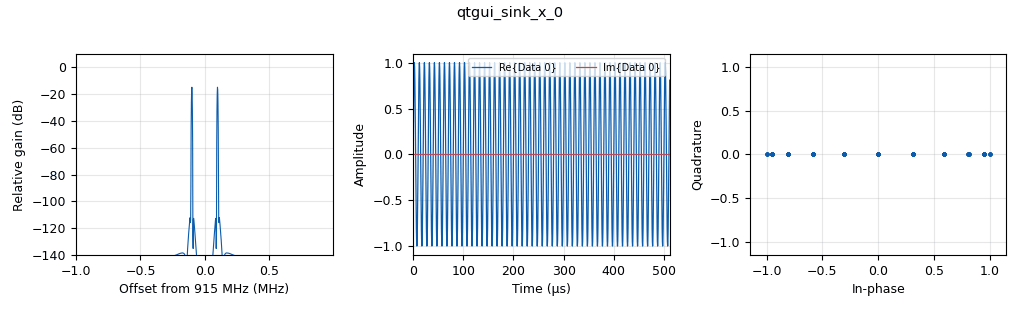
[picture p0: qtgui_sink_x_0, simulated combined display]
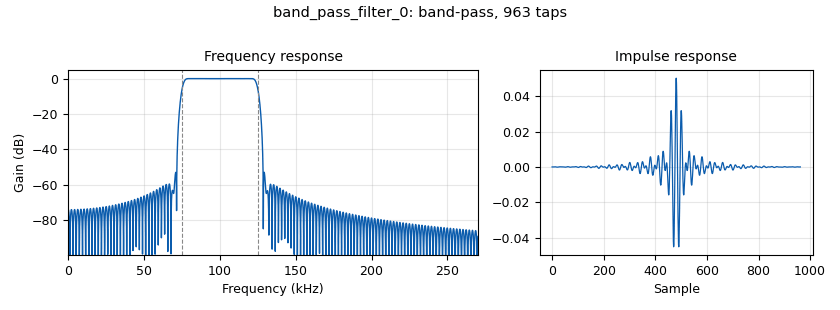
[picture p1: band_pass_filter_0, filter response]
options:
  parameters:
    author: donny
    generate_options: qt_gui
    id: Gain_Control_System
    output_language: python
    title: Gain Control System
  states: {}

blocks:
- name: AVG_LEN
  id: variable
  parameters:
    value: '2500'
  states: {}
- name: amp
  id: variable_qtgui_range
  parameters:
    label: Amplitude
    start: '0'
    step: '0.1'
    stop: '10'
    value: '1'
  states: {}
- name: channel_scale
  id: variable_qtgui_range
  parameters:
    label: Channel Scaling
    rangeType: int
    start: '1'
    step: '1'
    stop: '100'
    value: '1'
  states: {}
- name: fc_rx
  id: variable_qtgui_range
  parameters:
    label: Center Frequency - Rx
    start: '910000000'
    step: '500000'
    stop: '920000000'
    value: '915000000'
  states: {}
- name: fc_tx
  id: variable_qtgui_range
  parameters:
    label: Center Frequency - Tx
    start: '910000000'
    step: '500000'
    stop: '920000000'
    value: '915000000'
  states: {}
- name: filter_select
  id: variable_qtgui_chooser
  parameters:
    gui_hint: 0,3,1,1
    label: Filter Selection
    label0: Enable
    label1: Bypass
    num_opts: '2'
    option0: '0'
    option1: '1'
    type: int
    value: '0'
  states: {}
- name: gain_rx
  id: variable_qtgui_range
  parameters:
    gui_hint: 2,2,1,2
    label: Gain - Rx
    start: '0'
    step: '5'
    stop: '60'
    value: '30'
  states: {}
- name: gain_tx
  id: variable_qtgui_range
  parameters:
    gui_hint: 2,0,1,2
    label: Gain - Tx
    start: '0'
    step: '5'
    stop: '60'
    value: '40'
  states: {}
- name: path_select
  id: variable_qtgui_chooser
  parameters:
    gui_hint: 0,2,1,1
    label: Source Signal
    label0: Real Sine
    label1: Complex Sine
    num_opts: '2'
    option0: '0'
    option1: '1'
    type: int
    value: '0'
  states: {}
- name: samp_rate
  id: variable
  parameters:
    value: '2000000'
  states: {}
- name: sig_freq
  id: variable_qtgui_range
  parameters:
    gui_hint: 0,0,1,2
    label: Signal Frequency
    start: 5e4
    step: 5e4
    stop: 5e5
    value: 1e5
  states: {}
- name: analog_const_source_x_0
  id: analog_const_source_x
  parameters:
    const: '0'
    type: float
  states: {}
- name: analog_sig_source_x_0
  id: analog_sig_source_x
  parameters:
    amp: amp
    freq: sig_freq
    offset: '0'
    phase: '0'
    samp_rate: samp_rate
    type: complex
    waveform: analog.GR_COS_WAVE
  states: {}
- name: analog_sig_source_x_1_0
  id: analog_sig_source_x
  parameters:
    amp: amp
    freq: sig_freq
    offset: '0'
    phase: '0'
    samp_rate: samp_rate
    type: float
    waveform: analog.GR_COS_WAVE
  states: {}
- name: avg_power_1
  id: qtgui_number_sink
  parameters:
    autoscale: 'True'
    graph_type: qtgui.NUM_GRAPH_HORIZ
    label1: Average Power - Observed
    min: '0'
    name: '"Average Power 1"'
    type: float
  states: {}
- name: band_pass_filter_0
  id: band_pass_filter
  parameters:
    decim: '1'
    gain: '1'
    high_cutoff_freq: sig_freq + 25000
    low_cutoff_freq: sig_freq - 25000
    samp_rate: samp_rate
    type: fir_filter_ccf
    width: 5e3
    win: window.WIN_HAMMING
  states: {}
- name: blocks_complex_to_mag_squared_0
  id: blocks_complex_to_mag_squared
  parameters: {}
  states: {state: disabled}
- name: blocks_float_to_complex_0
  id: blocks_float_to_complex
  parameters: {}
  states: {}
- name: blocks_moving_average_xx_0
  id: blocks_moving_average_xx
  parameters:
    length: AVG_LEN
    max_iter: '500'
    scale: 1/AVG_LEN
    type: float
  states: {state: disabled}
- name: blocks_multiply_const_vxx_0
  id: blocks_multiply_const_vxx
  parameters:
    const: channel_scale
    type: complex
  states: {}
- name: blocks_selector_0
  id: blocks_selector
  parameters:
    enabled: 'True'
    input_index: path_select
    num_inputs: '2'
    num_outputs: '1'
    output_index: '0'
    type: complex
  states: {}
- name: blocks_selector_0_0
  id: blocks_selector
  parameters:
    enabled: 'True'
    input_index: filter_select
    num_inputs: '2'
    num_outputs: '1'
    output_index: '0'
    type: complex
  states: {}
- name: blocks_throttle_0
  id: blocks_throttle
  parameters:
    samples_per_second: samp_rate
    type: complex
  states: {}
- name: iio_pluto_sink_0
  id: iio_pluto_sink
  parameters:
    attenuation1: '10.0'
    bandwidth: '20000000'
    buffer_size: '32768'
    cyclic: 'False'
    filter_source: '''Auto'''
    frequency: '2400000000'
    samplerate: samp_rate
    type: fc32
  states: {}
- name: note_1_0
  id: note
  parameters:
    note: Transmitter
  states: {}
- name: note_1_0_0
  id: note
  parameters:
    note: Receiver
  states: {state: disabled}
- name: note_1_0_1
  id: note
  parameters:
    note: For Simulation
  states: {}
- name: note_1_0_1_0
  id: note
  parameters:
    note: For Hardware
  states: {}
- name: power_calc_0
  id: power_calc
  parameters:
    ma_len: '1000'
    samp_rate: '1000000'
  states: {}
- name: qtgui_sink_x_0
  id: qtgui_sink_x
  parameters:
    bw: samp_rate
    fc: fc_rx
    fftsize: '1024'
    gui_hint: 1,0,1,4
    showrf: 'True'
    type: complex
  states: {}
- name: rx_addr
  id: parameter
  parameters:
    label: RX Address
    short_id: r
    type: str
    value: '3279500'
  states: {}
- name: tx_addr
  id: parameter
  parameters:
    label: TX Address
    short_id: t
    type: str
    value: '3279417'
  states: {}
- name: uhd_usrp_sink_0
  id: uhd_usrp_sink
  parameters:
    ant0: TX/RX
    center_freq0: fc_tx
    dev_addr: '"serial=" + tx_addr'
    dev_args: '""'
    gain0: gain_tx
    len_tag_name: ''
    samp_rate: samp_rate
    sync: none
    type: fc32
  states: {}
- name: uhd_usrp_source_0
  id: uhd_usrp_source
  parameters:
    ant0: RX2
    center_freq0: fc_rx
    dev_addr: '"serial=" + rx_addr'
    dev_args: '""'
    gain0: gain_rx
    samp_rate: samp_rate
    sync: none
    type: fc32
  states: {state: disabled}
- name: virtual_sink_0
  id: virtual_sink
  parameters:
    stream_id: Real_Sine
  states: {}
- name: virtual_sink_0_0
  id: virtual_sink
  parameters:
    stream_id: Complex_Sine
  states: {}
- name: virtual_sink_0_1_0
  id: virtual_sink
  parameters:
    stream_id: RxSignal
  states: {}
- name: virtual_sink_0_1_0_0
  id: virtual_sink
  parameters:
    stream_id: TxSignal
  states: {}
- name: virtual_sink_0_1_0_1
  id: virtual_sink
  parameters:
    stream_id: RxSignal
  states: {state: disabled}
- name: virtual_source_0
  id: virtual_source
  parameters:
    stream_id: Real_Sine
  states: {}
- name: virtual_source_0_0
  id: virtual_source
  parameters:
    stream_id: Complex_Sine
  states: {}
- name: virtual_source_0_1
  id: virtual_source
  parameters:
    stream_id: TxSignal
  states: {}
- name: virtual_source_0_1_0
  id: virtual_source
  parameters:
    stream_id: RxSignal
  states: {}
- name: virtual_source_0_1_1
  id: virtual_source
  parameters:
    stream_id: TxSignal
  states: {}
- name: xmlrpc_server_0
  id: xmlrpc_server
  parameters:
    addr: localhost
    port: '8080'
  states: {}
- name: xmlrpc_server_1_0
  id: xmlrpc_server
  parameters:
    addr: localhost
    port: '8080'
  states: {}
- name: zeromq_pub_sink_0_0
  id: zeromq_pub_sink
  parameters:
    address: tcp://127.0.0.1:55555
    hwm: '1'
    timeout: '100'
    type: float
  states: {}

connections:
- [analog_const_source_x_0, '0', blocks_float_to_complex_0, '1']
- [analog_sig_source_x_0, '0', virtual_sink_0_0, '0']
- [analog_sig_source_x_1_0, '0', blocks_float_to_complex_0, '0']
- [band_pass_filter_0, '0', blocks_selector_0_0, '0']
- [blocks_complex_to_mag_squared_0, '0', blocks_moving_average_xx_0, '0']
- [blocks_float_to_complex_0, '0', virtual_sink_0, '0']
- [blocks_moving_average_xx_0, '0', avg_power_1, '0']
- [blocks_moving_average_xx_0, '0', zeromq_pub_sink_0_0, '0']
- [blocks_multiply_const_vxx_0, '0', band_pass_filter_0, '0']
- [blocks_multiply_const_vxx_0, '0', blocks_selector_0_0, '1']
- [blocks_selector_0, '0', virtual_sink_0_1_0_0, '0']
- [blocks_selector_0_0, '0', blocks_complex_to_mag_squared_0, '0']
- [blocks_selector_0_0, '0', power_calc_0, '0']
- [blocks_selector_0_0, '0', qtgui_sink_x_0, '0']
- [blocks_throttle_0, '0', virtual_sink_0_1_0, '0']
- [power_calc_0, '0', avg_power_1, '0']
- [power_calc_0, '0', zeromq_pub_sink_0_0, '0']
- [uhd_usrp_source_0, '0', virtual_sink_0_1_0_1, '0']
- [virtual_source_0, '0', blocks_selector_0, '0']
- [virtual_source_0_0, '0', blocks_selector_0, '1']
- [virtual_source_0_1, '0', blocks_throttle_0, '0']
- [virtual_source_0_1_0, '0', blocks_multiply_const_vxx_0, '0']
- [virtual_source_0_1_1, '0', uhd_usrp_sink_0, '0']

metadata:
  file_format: 1
  grc_version: 3.10.5.1
